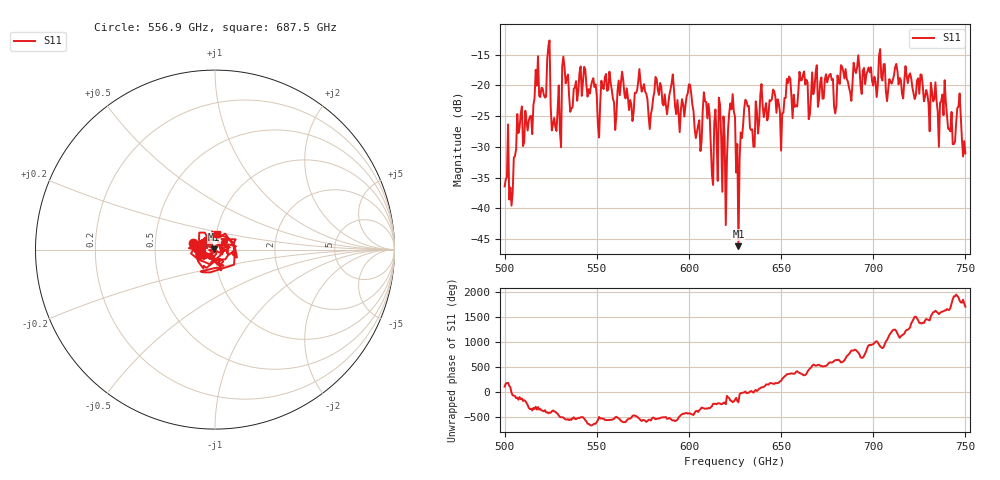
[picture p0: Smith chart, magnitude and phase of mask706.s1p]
!Created with skrf (http://scikit-rf.org).
# GHz S MA R 50.0
!freq magS11 angS11
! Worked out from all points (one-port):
!   401 points, 500 GHz to 750 GHz, reference 50 ohm
!   lowest |S11| = -46.2 dB at 626.9 GHz (marker M1), VSWR 1.01, Z = 49.5 + j0.17 ohm
!   |S11| at or under -10 dB: start of sweep to end of sweep
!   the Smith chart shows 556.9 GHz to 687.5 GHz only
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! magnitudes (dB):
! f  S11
! 500 GHz  -36.4
! 503.8 GHz  -39.6
! 508.1 GHz  -26.9
! 513.8 GHz  -25.1
! 516.9 GHz  -17.5
! 523.8 GHz  -13.7
! 526.9 GHz  -25.3
! 531.2 GHz  -16.9
! 562.5 GHz  -21.6
! 593.8 GHz  -22.4
! 600 GHz  -19.8
! 605.6 GHz  -25.7
! 609.4 GHz  -22.7
! 611.9 GHz  -29.6
! 617.5 GHz  -28.4
! 619.4 GHz  -28.3
! 622.5 GHz  -22.9
! 625 GHz  -25.1
! 626.9 GHz  -46.2
! 631.2 GHz  -22.6
! 634.4 GHz  -27.2
! 640 GHz  -23.3
! 656.2 GHz  -25.4
! 687.5 GHz  -21.2
! 718.8 GHz  -19.7
! 743.1 GHz  -29.6
! 746.2 GHz  -23.5
! 750 GHz  -31.1
